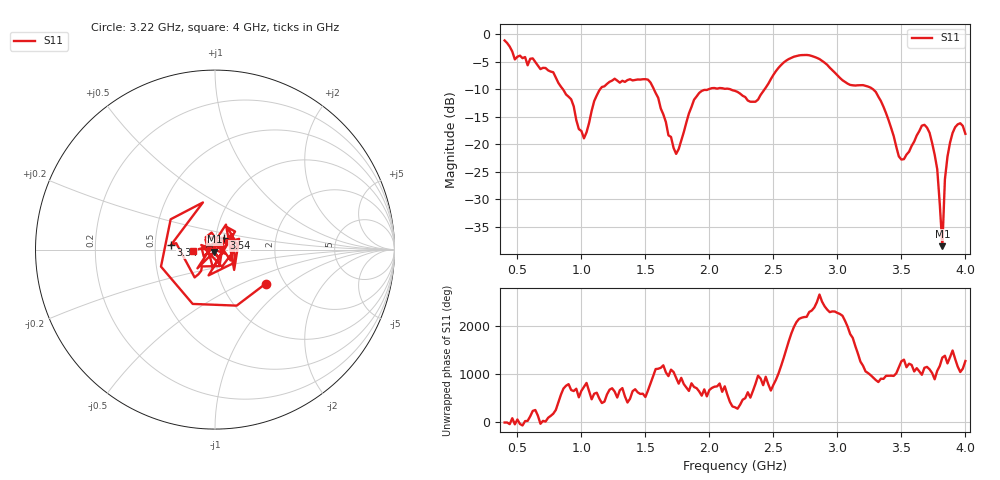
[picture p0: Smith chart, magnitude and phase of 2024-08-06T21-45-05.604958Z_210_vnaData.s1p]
!Created with skrf (http://scikit-rf.org).
# Hz S RI R 50.0
!freq ReS11 ImS11
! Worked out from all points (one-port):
!   181 points, 400 MHz to 4 GHz, reference 50 ohm
!   lowest |S11| = -38.5 dB at 3.82 GHz (marker M1), VSWR 1.02, Z = 49.7 - j1.14 ohm
!   |S11| at or under -10 dB: 855.9 MHz to 1.146 GHz (290.2 MHz wide, 29 % of centre); 1.567 GHz to 1.993 GHz (426.2 MHz wide, 23.9 % of centre); 3.279 GHz to end of sweep (the widest 3 of 4)
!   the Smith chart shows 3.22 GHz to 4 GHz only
!   S11 on the Smith chart (normalised r, x): 3.22 GHz: 1.60, -0.69; 3.34 GHz: 0.60, +0.03; 3.54 GHz: 1.09, +0.14; 4 GHz: 0.78, -0.01
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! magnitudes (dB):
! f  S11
! 400 MHz  -1.1
! 480 MHz  -4.6
! 860 MHz  -10.1
! 1.02 GHz  -18.9
! 1.14 GHz  -10.2
! 1.3 GHz  -8.8
! 1.52 GHz  -8.2
! 1.74 GHz  -21.7
! 1.76 GHz  -20.9
! 1.92 GHz  -10.7
! 2.2 GHz  -10.3
! 2.36 GHz  -12.3
! 2.66 GHz  -4.1
! 2.86 GHz  -4.5
! 3.1 GHz  -9.2
! 3.22 GHz  -9.4
! 3.34 GHz  -12.1
! 3.48 GHz  -22.2
! 3.54 GHz  -21.9
! 3.56 GHz  -21.3
! 3.66 GHz  -16.6
! 3.72 GHz  -17.9
! 3.78 GHz  -24.5
! 3.82 GHz  -38.5
! 3.84 GHz  -26.3
! 3.88 GHz  -19.7
! 3.94 GHz  -16.4
! 4 GHz  -18.1
